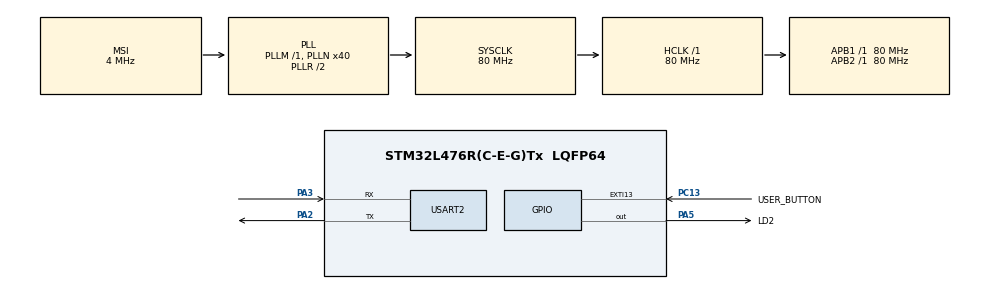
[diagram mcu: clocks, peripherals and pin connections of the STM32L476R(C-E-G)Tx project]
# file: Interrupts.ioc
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Mcu.Family=STM32L4
Mcu.Name=STM32L476R(C-E-G)Tx
Mcu.Package=LQFP64
NVIC.EXTI15_10_IRQn=true\:0\:0\:false\:false\:true\:true\:true\:true
NVIC.PriorityGroup=NVIC_PRIORITYGROUP_4
PA13\ (JTMS-SWDIO).Mode=Serial_Wire
PA13\ (JTMS-SWDIO).Signal=SYS_JTMS-SWDIO
PA14\ (JTCK-SWCLK).Mode=Serial_Wire
PA14\ (JTCK-SWCLK).Signal=SYS_JTCK-SWCLK
PA2.Mode=Asynchronous
PA2.Signal=USART2_TX
PA3.Mode=Asynchronous
PA3.Signal=USART2_RX
PA5.GPIO_Label=LD2
PA5.Signal=GPIO_Output
PC13.GPIO_Label=USER_BUTTON
PC13.Signal=GPXTI13
ProjectManager.HeapSize=0x200
ProjectManager.StackSize=0x400
ProjectManager.TargetToolchain=STM32CubeIDE
RCC.AHBFreq_Value=80000000
RCC.APB1Freq_Value=80000000
RCC.APB1TimFreq_Value=80000000
RCC.APB2Freq_Value=80000000
RCC.APB2TimFreq_Value=80000000
RCC.CortexFreq_Value=80000000
RCC.HCLKFreq_Value=80000000
RCC.HSE_VALUE=8000000
RCC.HSI_VALUE=16000000
RCC.LSE_VALUE=32768
RCC.MSI_VALUE=4000000
RCC.PLLN=40
RCC.SYSCLKFreq_VALUE=80000000
RCC.SYSCLKSource=RCC_SYSCLKSOURCE_PLLCLK
RCC.VCOOutputFreq_Value=160000000
USART2.VirtualMode-Asynchronous=VM_ASYNC
board=custom

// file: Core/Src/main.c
/* USER CODE BEGIN Header */
/**
  ******************************************************************************
  * @file           : main.c
  * @brief          : Main program body
  ******************************************************************************
  * @attention
  *
  * Copyright (c) 2025 STMicroelectronics.
  * All rights reserved.
  *
  * This software is licensed under terms that can be found in the LICENSE file
  * in the root directory of this software component.
  * If no LICENSE file comes with this software, it is provided AS-IS.
  *
  ******************************************************************************
  */
/* USER CODE END Header */
#include "main.h"

/* USER CODE BEGIN Includes */
#include <stdio.h>
/* USER CODE END Includes */

UART_HandleTypeDef huart2;

void SystemClock_Config(void);
static void MX_GPIO_Init(void);
static void MX_USART2_UART_Init(void);

/* USER CODE BEGIN 0 */
int __io_putchar(int ch)
{
	if (ch == '\n')
	{
		uint8_t newLineBeginChar = '\r';
		HAL_UART_Transmit(&huart2, &newLineBeginChar, 1, HAL_MAX_DELAY);
	}

	HAL_UART_Transmit(&huart, (uint8_t*)&ch, 1, HAL_MAX_DELAY);

	return 1;
}

volatile uint32_t quantity_of_pressing;

void HAL_GPIO_EXTI_Callback(uint16_t GPIO_Pin)
{
	if(GPIO_Pin == USER_BUTTON_Pin){
		quantity_of_pressing++;
	}
}
/* USER CODE END 0 */

int main(void)
{

  /* MCU Configuration--------------------------------------------------------*/

  /* Reset of all peripherals, Initializes the Flash interface and the Systick. */
  HAL_Init();

  /* Configure the system clock */
  SystemClock_Config();

  /* Initialize all configured peripherals */
  MX_GPIO_Init();
  MX_USART2_UART_Init();

  /* Infinite loop */
  /* USER CODE BEGIN WHILE */

  uint32_t prev_stat_qop = quantity_of_pressing;

  while (1)
  {
	  if (prev_stat_qop != quantity_of_pressing){
		  prev_stat_qop = quantity_of_pressing;
		  printf("quantity of pressing = %lu\n", quantity_of_pressing);
	  }
    /* USER CODE END WHILE */

  }
}

void SystemClock_Config(void)
{
  RCC_OscInitTypeDef RCC_OscInitStruct = {0};
  RCC_ClkInitTypeDef RCC_ClkInitStruct = {0};

  /** Configure the main internal regulator output voltage
  */
  if (HAL_PWREx_ControlVoltageScaling(PWR_REGULATOR_VOLTAGE_SCALE1) != HAL_OK)
  {
    Error_Handler();
  }

  /** Initializes the RCC Oscillators according to the specified parameters
  * in the RCC_OscInitTypeDef structure.
  */
  RCC_OscInitStruct.OscillatorType = RCC_OSCILLATORTYPE_MSI;
  RCC_OscInitStruct.MSIState = RCC_MSI_ON;
  RCC_OscInitStruct.MSICalibrationValue = 0;
  RCC_OscInitStruct.MSIClockRange = RCC_MSIRANGE_6;
  RCC_OscInitStruct.PLL.PLLState = RCC_PLL_ON;
  RCC_OscInitStruct.PLL.PLLSource = RCC_PLLSOURCE_MSI;
  RCC_OscInitStruct.PLL.PLLM = 1;
  RCC_OscInitStruct.PLL.PLLN = 40;
  RCC_OscInitStruct.PLL.PLLP = RCC_PLLP_DIV7;
  RCC_OscInitStruct.PLL.PLLQ = RCC_PLLQ_DIV2;
  RCC_OscInitStruct.PLL.PLLR = RCC_PLLR_DIV2;
  if (HAL_RCC_OscConfig(&RCC_OscInitStruct) != HAL_OK)
  {
    Error_Handler();
  }

  /** Initializes the CPU, AHB and APB buses clocks
  */
  RCC_ClkInitStruct.ClockType = RCC_CLOCKTYPE_HCLK|RCC_CLOCKTYPE_SYSCLK
                              |RCC_CLOCKTYPE_PCLK1|RCC_CLOCKTYPE_PCLK2;
  RCC_ClkInitStruct.SYSCLKSource = RCC_SYSCLKSOURCE_PLLCLK;
  RCC_ClkInitStruct.AHBCLKDivider = RCC_SYSCLK_DIV1;
  RCC_ClkInitStruct.APB1CLKDivider = RCC_HCLK_DIV1;
  RCC_ClkInitStruct.APB2CLKDivider = RCC_HCLK_DIV1;

  if (HAL_RCC_ClockConfig(&RCC_ClkInitStruct, FLASH_LATENCY_4) != HAL_OK)
  {
    Error_Handler();
  }
}

static void MX_USART2_UART_Init(void)
{

  huart2.Instance = USART2;
  huart2.Init.BaudRate = 115200;
  huart2.Init.WordLength = UART_WORDLENGTH_8B;
  huart2.Init.StopBits = UART_STOPBITS_1;
  huart2.Init.Parity = UART_PARITY_NONE;
  huart2.Init.Mode = UART_MODE_TX_RX;
  huart2.Init.HwFlowCtl = UART_HWCONTROL_NONE;
  huart2.Init.OverSampling = UART_OVERSAMPLING_16;
  huart2.Init.OneBitSampling = UART_ONE_BIT_SAMPLE_DISABLE;
  huart2.AdvancedInit.AdvFeatureInit = UART_ADVFEATURE_NO_INIT;
  if (HAL_UART_Init(&huart2) != HAL_OK)
  {
    Error_Handler();
  }

}

static void MX_GPIO_Init(void)
{
  GPIO_InitTypeDef GPIO_InitStruct = {0};

  /* GPIO Ports Clock Enable */
  __HAL_RCC_GPIOC_CLK_ENABLE();
  __HAL_RCC_GPIOA_CLK_ENABLE();

  /*Configure GPIO pin Output Level */
  HAL_GPIO_WritePin(LD2_GPIO_Port, LD2_Pin, GPIO_PIN_RESET);

  /*Configure GPIO pin : USER_BUTTON_Pin */
  GPIO_InitStruct.Pin = USER_BUTTON_Pin;
  GPIO_InitStruct.Mode = GPIO_MODE_IT_RISING;
  GPIO_InitStruct.Pull = GPIO_NOPULL;
  HAL_GPIO_Init(USER_BUTTON_GPIO_Port, &GPIO_InitStruct);

  /*Configure GPIO pin : LD2_Pin */
  GPIO_InitStruct.Pin = LD2_Pin;
  GPIO_InitStruct.Mode = GPIO_MODE_OUTPUT_PP;
  GPIO_InitStruct.Pull = GPIO_NOPULL;
  GPIO_InitStruct.Speed = GPIO_SPEED_FREQ_LOW;
  HAL_GPIO_Init(LD2_GPIO_Port, &GPIO_InitStruct);

  /* EXTI interrupt init*/
  HAL_NVIC_SetPriority(EXTI15_10_IRQn, 0, 0);
  HAL_NVIC_EnableIRQ(EXTI15_10_IRQn);

}

void Error_Handler(void)
{
  __disable_irq();
  while (1)
  {
  }
}
